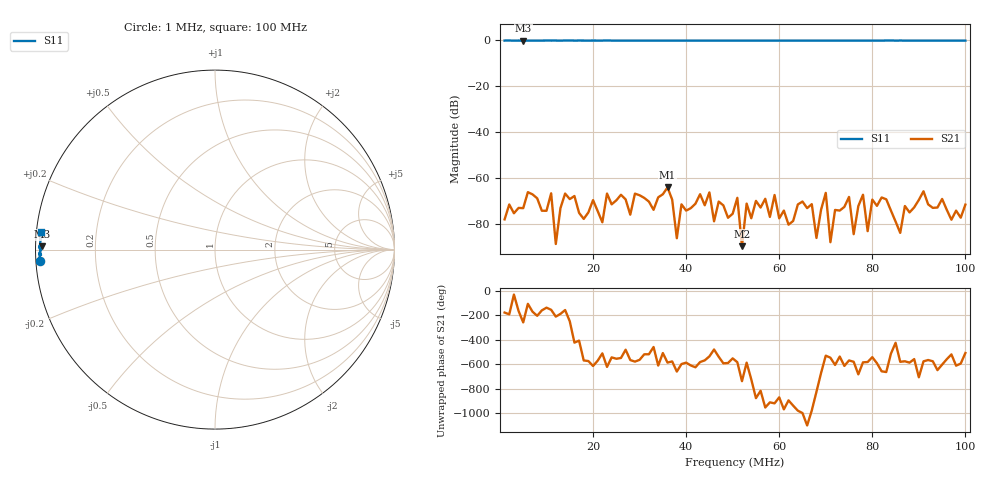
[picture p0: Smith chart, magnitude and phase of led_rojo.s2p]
# HZ S RI R 50
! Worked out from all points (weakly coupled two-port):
!   100 points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, 1 MHz to 100 MHz, reference 50 ohm
!   highest |S21| = -64.25 dB at 36 MHz (marker M1); lowest = -89.8 dB at 52 MHz (marker M2)
!   lowest |S11| = -0.3 dB at 5 MHz (marker M3), VSWR 54.83, Z = 0.912 + j0.492 ohm
!   |S11| at or under -10 dB: nowhere
!   S12 and S22 are empty: the file has one direction only
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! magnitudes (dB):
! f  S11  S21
! 1 MHz  -0.2  -78.2
! 5 MHz  -0.3  -73.3
! 11 MHz  -0.2  -66.8
! 12 MHz  -0.2  -88.9
! 14 MHz  -0.2  -66.9
! 18 MHz  -0.2  -78.0
! 34 MHz  -0.2  -68.6
! 36 MHz  -0.2  -64.3
! 38 MHz  -0.2  -86.4
! 43 MHz  -0.2  -67.2
! 45 MHz  -0.2  -66.4
! 46 MHz  -0.2  -79.0
! 51 MHz  -0.2  -68.8
! 52 MHz  -0.2  -89.8
! 59 MHz  -0.2  -67.5
! 62 MHz  -0.2  -80.5
! 67 MHz  -0.2  -71.5
! 68 MHz  -0.2  -86.3
! 70 MHz  -0.2  -66.6
! 71 MHz  -0.2  -88.1
! 84 MHz  -0.2  -74.3
! 100 MHz  -0.2  -71.7
